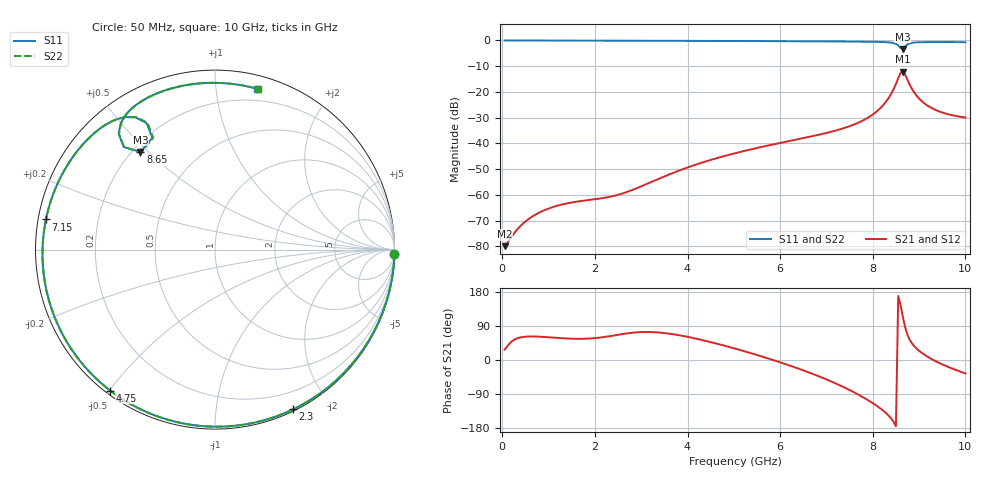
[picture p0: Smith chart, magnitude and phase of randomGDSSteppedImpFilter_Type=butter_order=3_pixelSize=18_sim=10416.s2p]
! freq	dB(S11)	phase(S11)	dB(S12)	phase(S12)
!  dB(S21)	phase(S21)	dB(S22)	phase(S22)
!S-par simulation data
#  GHz  S  DB  R 50
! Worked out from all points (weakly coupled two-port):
!   200 points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, 50 MHz to 10 GHz, reference 50 ohm
!   highest |S21| = -12.07 dB at 8.65 GHz (marker M1); lowest = -80.0 dB at 50 MHz (marker M2)
!   lowest |S11| = -3.3 dB at 8.65 GHz (marker M3), VSWR 5.34, Z = 11.6 + j23.7 ohm
!   |S11| at or under -10 dB: nowhere
!   |S22| runs from -3.3 to 0.0 dB; largest |S21 - S12| = 0
!   S11 on the Smith chart (normalised r, x): 50 MHz: 0, -80; 2.3 GHz: 0.02, -1.60; 4.75 GHz: 0.01, -0.50; 7.15 GHz: 0.02, +0.09; 8.65 GHz: 0.23, +0.47; 10 GHz: 0.10, +1.29
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0.05  -0.00 -1.4  -79.96 27.5  -79.96 27.5  -0.00 -1.4
0.4  -0.01 -11.4  -71.98 59.8  -71.98 59.8  -0.01 -11.4
0.7  -0.02 -20.0  -67.86 62.0  -67.86 62.0  -0.02 -20.0
1.15  -0.04 -32.6  -64.43 58.6  -64.43 58.6  -0.04 -32.6
1.75  -0.06 -49.1  -62.28 56.0  -62.28 56.0  -0.06 -49.1
2.3  -0.08 -63.9  -60.85 62.4  -60.85 62.4  -0.08 -63.9
3.4  -0.12 -92.6  -53.60 72.3  -53.60 72.3  -0.12 -92.6
4.75  -0.19 -126.7  -45.15 39.3  -45.15 39.3  -0.19 -126.7
5.05  -0.20 -134.2  -43.72 29.3  -43.72 29.3  -0.20 -134.2
5.9  -0.26 -155.9  -40.21 -2.1  -40.21 -2.1  -0.26 -156.0
6.7  -0.34 -177.3  -37.19 -36.5  -37.19 -36.5  -0.34 -177.4
7.15  -0.38 169.9  -35.27 -59.1  -35.27 -59.1  -0.38 169.8
7.9  -0.49 146.5  -29.97 -106.2  -29.97 -106.2  -0.49 146.3
8.35  -0.74 129.2  -22.16 -147.7  -22.16 -147.7  -0.74 128.9
8.5  -1.32 121.0  -16.90 -174.7  -16.90 -174.7  -1.33 120.7
8.6  -2.92 119.3  -12.67 145.0  -12.67 145.0  -2.96 118.9
8.65  -3.29 127.4  -12.07 113.9  -12.07 113.9  -3.34 127.2
8.75  -1.52 129.8  -15.35 66.0  -15.35 66.0  -1.53 129.7
8.95  -0.73 118.4  -21.56 29.6  -21.56 29.6  -0.73 118.2
9.15  -0.64 109.4  -24.91 11.2  -24.91 11.2  -0.64 109.2
9.5  -0.63 95.2  -28.00 -11.5  -28.00 -11.5  -0.63 94.9
10  -0.67 75.3  -29.96 -35.4  -29.96 -35.4  -0.66 75.0
